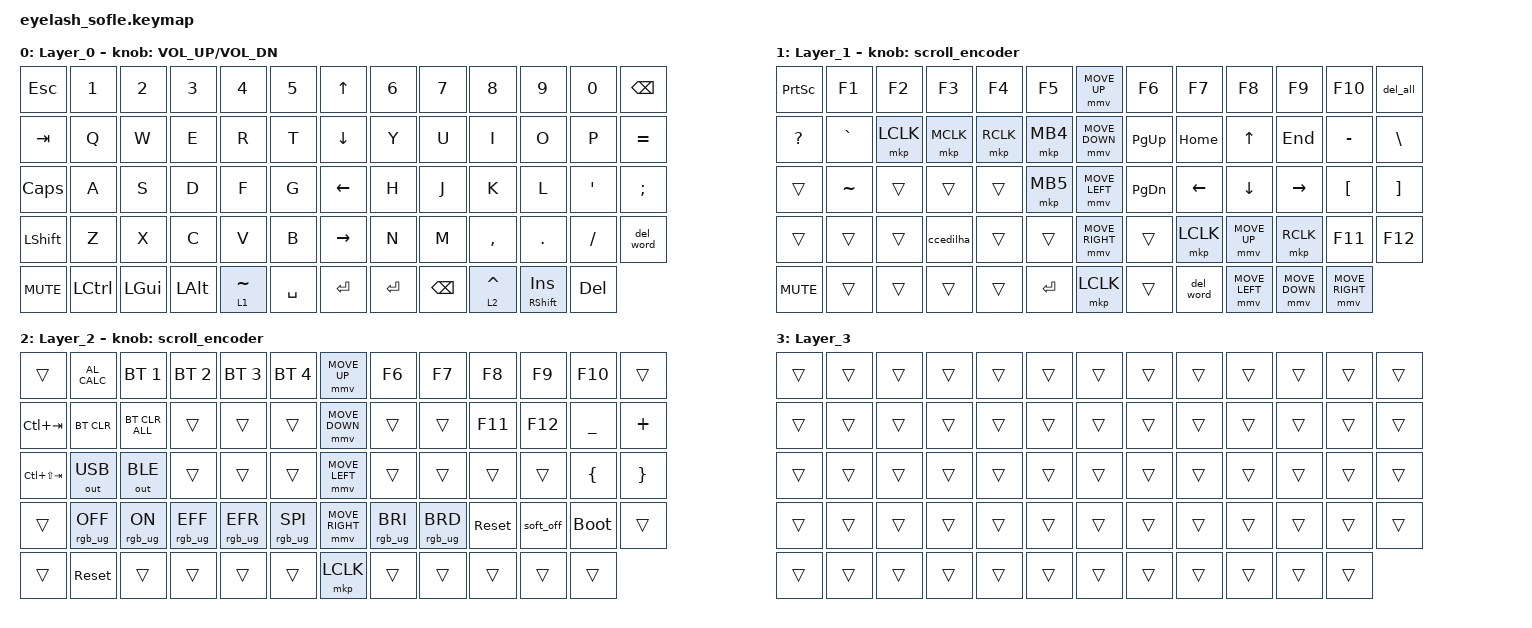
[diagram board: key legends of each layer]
#define ZMK_POINTING_DEFAULT_MOVE_VAL 700  // 600
#define ZMK_POINTING_DEFAULT_SCRL_VAL 25   // 10

#include <input/processors.dtsi>
#include <zephyr/dt-bindings/input/input-event-codes.h>
#include <behaviors.dtsi>
#include <dt-bindings/zmk/bt.h>
#include <dt-bindings/zmk/ext_power.h>
#include <dt-bindings/zmk/keys.h>
#include <dt-bindings/zmk/pointing.h>
#include <dt-bindings/zmk/rgb.h>
#include <dt-bindings/zmk/outputs.h>

&mmv_input_listener { input-processors = <&zip_xy_scaler 2 1>; };

&msc_input_listener { input-processors = <&zip_scroll_scaler 2 1>; };

&msc {
    acceleration-exponent = <1>;      // 0
    time-to-max-speed-ms = <100>;       // 300
    delay-ms = <0>;                   // 0
};

&mmv {
    time-to-max-speed-ms = <800>;
    acceleration-exponent = <1>;
    trigger-period-ms = <16>;
};

&mt {
    tapping-term-ms = <100>;
};

/ {



    combos {
        compatible = "zmk,combos";

        combo_jk_dellword {
            timeout-ms = <40>;
            key-positions = <34 35>;   // J K
            bindings = <&del_word >;
            layers = <0>;   // só na layer0
        };
    };



    scroll_encoder: scroll_encoder {
        compatible = "zmk,behavior-sensor-rotate";
        #sensor-binding-cells = <0>;
        bindings = <&msc SCRL_DOWN>, <&msc SCRL_UP>;
        tap-ms = <100>;
    };

    ccedilha: ccedilha {
        compatible = "zmk,behavior-macro";
        label = "ccedilha";
        #binding-cells = <0>;
        bindings = <
            &kp APOS
            &kp C
        >;
    };

    del_all: macro_del_all {
        compatible = "zmk,behavior-macro";
        label = "Delete All";
        #binding-cells = <0>;
        bindings = <
            &kp LC(A)
            &kp DELETE
        >;
    };

    del_word: macro_erase_word {
        compatible = "zmk,behavior-macro";
        label = "Erase Word";
        #binding-cells = <0>;
        bindings = <
            &kp LC(BACKSPACE)
        >;
    };

    keymap {
        compatible = "zmk,keymap";

        layer0 {
            bindings = <
&kp ESC     &kp N1     &kp N2        &kp N3        &kp N4      &kp N5       &kp UP_ARROW     &kp N6     &kp N7         &kp N8      &kp N9            &kp N0      &kp BACKSPACE
&kp TAB     &kp Q      &kp W         &kp E         &kp R       &kp T        &kp DOWN_ARROW   &kp Y      &kp U          &kp I       &kp O             &kp P       &kp EQUAL
&kp CAPS    &kp A      &kp S         &kp D         &kp F       &kp G        &kp LEFT_ARROW   &kp H      &kp J          &kp K       &kp L             &kp APOS    &kp SEMI
&kp LSHFT   &kp Z      &kp X         &kp C         &kp V       &kp B        &kp RIGHT_ARROW  &kp N      &kp M          &kp COMMA   &kp DOT           &kp FSLH    &del_word
&kp C_MUTE  &kp LCTRL  &kp LEFT_GUI  &kp LEFT_ALT  &lt 1 TILDE &kp SPACE    &kp ENTER        &kp ENTER  &kp BACKSPACE  &lt 2 CARET &mt RSHIFT INSERT &kp DELETE
            >;

            sensor-bindings = <&inc_dec_kp C_VOLUME_UP C_VOL_DN>;
            display-name = "Layer_0";
        };

        layer_1 {
            bindings = <
&kp PSCRN    &kp F1           &kp F2          &kp F3           &kp F4      &kp F5     &mmv MOVE_UP       &kp F6     &kp F7       &kp F8         &kp F9          &kp F10           &del_all
&kp QMARK    &kp GRAVE        &mkp LCLK       &mkp MCLK        &mkp RCLK   &mkp MB4   &mmv MOVE_DOWN     &kp PG_UP  &kp HOME     &kp UP         &kp END         &kp MINUS         &kp BSLH
&trans       &kp TILDE        &trans          &trans           &trans      &mkp MB5   &mmv MOVE_LEFT     &kp PG_DN  &kp LEFT     &kp DOWN       &kp RIGHT       &kp LEFT_BRACKET  &kp RIGHT_BRACKET
&trans       &trans           &trans          &ccedilha        &trans      &trans     &mmv MOVE_RIGHT    &trans     &mkp LCLK    &mmv MOVE_UP   &mkp RCLK       &kp F11           &kp F12
&kp C_MUTE   &trans           &trans          &trans           &trans      &kp ENTER  &mkp LCLK          &trans     &del_word    &mmv MOVE_LEFT &mmv MOVE_DOWN  &mmv MOVE_RIGHT
            >;

            display-name = "Layer_1";
            sensor-bindings = <&scroll_encoder>;
        };

        layer_2 {
            bindings = <
&trans          &kp C_AL_CALC    &bt BT_SEL 1    &bt BT_SEL 2  &bt BT_SEL 3  &bt BT_SEL 4          &mmv MOVE_UP     &kp F6  &kp F7  &kp F8      &kp F9     &kp F10      &trans
&kp LC(TAB)     &bt BT_CLR       &bt BT_CLR_ALL  &trans           &trans           &trans          &mmv MOVE_DOWN   &trans           &trans           &kp F11     &kp F12    &kp UNDER    &kp PLUS
&kp LC(LS(TAB)) &out OUT_USB     &out OUT_BLE    &trans           &trans           &trans          &mmv MOVE_LEFT   &trans           &trans           &trans      &trans     &kp LBRC     &kp RBRC
&trans          &rgb_ug RGB_OFF  &rgb_ug RGB_ON  &rgb_ug RGB_EFF  &rgb_ug RGB_EFR  &rgb_ug RGB_SPI &mmv MOVE_RIGHT  &rgb_ug RGB_BRI  &rgb_ug RGB_BRD  &sys_reset  &soft_off  &bootloader  &trans
&trans          &sys_reset       &trans          &trans           &trans           &trans          &mkp LCLK        &trans           &trans           &trans      &trans     &trans
            >;

            display-name = "Layer_2";
            sensor-bindings = <&scroll_encoder>;
        };

        layer_3 {
            bindings = <
&trans  &trans  &trans  &trans  &trans  &trans    &trans  &trans  &trans  &trans  &trans  &trans  &trans
&trans  &trans  &trans  &trans  &trans  &trans    &trans  &trans  &trans  &trans  &trans  &trans  &trans
&trans  &trans  &trans  &trans  &trans  &trans    &trans  &trans  &trans  &trans  &trans  &trans  &trans
&trans  &trans  &trans  &trans  &trans  &trans    &trans  &trans  &trans  &trans  &trans  &trans  &trans
&trans  &trans  &trans  &trans  &trans  &trans    &trans  &trans  &trans  &trans  &trans  &trans
            >;

            display-name = "Layer_3";
        };
    };
};
